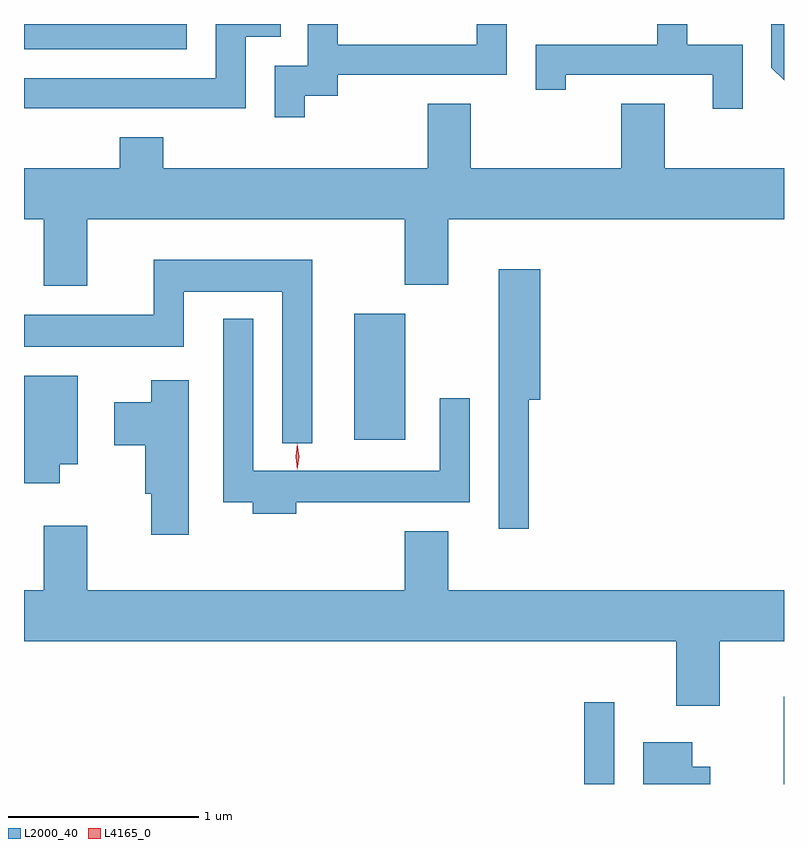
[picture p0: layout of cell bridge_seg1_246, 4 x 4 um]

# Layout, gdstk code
import gdstk
lib = gdstk.Library(unit=1e-6, precision=1e-09)
def R(c, l, rs):  # rectangles x0, y0, x1, y1
    for r in rs: c.add(gdstk.rectangle(r[:2], r[2:], *l))
def P(c, l, *ps):  # polygons
    for p in ps: c.add(gdstk.Polygon(p, *l))
L2000_40 = (2000, 40)
L4165_0 = (4165, 0)

bridge_seg1_246 = lib.new_cell('bridge_seg1_246')
R(bridge_seg1_246, L2000_40, [(959.426,885.504,959.584,885.933), (960.476,885.504,960.477,885.964), (958.216,887.316,958.484,887.979), (956.477,889.371,957.334,889.504)])
P(bridge_seg1_246, L2000_40, [(960.477,889.504),(960.411,889.504),(960.411,889.274),(960.477,889.208)],
  [(960.259,889.394),(959.969,889.394),(959.969,889.504),(959.811,889.504),(959.811,889.394),(959.171,889.394),(959.171,889.158),(959.329,889.158),(959.329,889.236),(960.101,889.236),(960.101,889.058),(960.259,889.058)],
  [(957.644,889.436),(957.828,889.436),(957.828,889.504),(957.486,889.504),(957.486,889.219),(956.477,889.219),(956.477,889.061),(957.644,889.061)],
  [(957.954,889.126),(958.129,889.126),(958.129,889.236),(959.019,889.236),(959.019,889.504),(958.861,889.504),(958.861,889.394),(958.129,889.394),(958.129,889.504),(957.971,889.504),(957.971,889.284),(957.796,889.284),(957.796,889.013),(957.954,889.013)],
  [(956.809,888.476),(958.481,888.476),(958.481,888.131),(958.709,888.131),(958.709,888.476),(960.477,888.476),(960.477,888.744),(959.849,888.744),(959.849,889.084),(959.621,889.084),(959.621,888.744),(958.829,888.744),(958.829,889.084),(958.601,889.084),(958.601,888.744),(957.209,888.744),(957.209,888.909),(956.981,888.909),(956.981,888.744),(956.477,888.744),(956.477,888.476),(956.581,888.476),(956.581,888.126),(956.809,888.126)],
  [(957.994,888.264),(957.161,888.264),(957.161,887.974),(956.477,887.974),(956.477,887.806),(957.319,887.806),(957.319,888.096),(957.836,888.096),(957.836,887.298),(957.994,887.298)],
  [(959.134,887.526),(959.194,887.526),(959.194,888.214),(958.976,888.214),(958.976,886.848),(959.134,886.848)],
  [(957.909,886.986),(958.824,886.986),(958.824,887.533),(958.666,887.533),(958.666,887.154),(957.684,887.154),(957.684,887.953),(957.526,887.953),(957.526,886.986),(957.681,886.986),(957.681,886.926),(957.909,886.926)],
  [(956.664,887.186),(956.759,887.186),(956.759,887.654),(956.477,887.654),(956.477,887.086),(956.664,887.086)],
  [(957.344,887.629),(957.146,887.629),(957.146,887.514),(956.951,887.514),(956.951,887.286),(957.116,887.286),(957.116,887.031),(957.146,887.031),(957.146,886.816),(957.344,886.816)],
  [(960.139,886.256),(960.477,886.256),(960.477,886.524),(958.709,886.524),(958.709,886.834),(958.481,886.834),(958.481,886.524),(956.809,886.524),(956.809,886.864),(956.581,886.864),(956.581,886.524),(956.477,886.524),(956.477,886.256),(959.911,886.256),(959.911,885.916),(960.139,885.916)],
  [(960.089,885.594),(959.994,885.594),(959.994,885.724),(959.736,885.724),(959.736,885.504),(960.089,885.504)])
P(bridge_seg1_246, L4165_0, [(957.915,887.157),(957.906,887.227),(957.915,887.296),(957.916,887.296),(957.916,887.296),(957.926,887.227),(957.916,887.157),(957.916,887.157)],
  [(957.916,887.159),(957.915,887.16),(957.906,887.226),(957.915,887.292),(957.916,887.293),(957.916,887.292),(957.926,887.226),(957.916,887.16)])

lib.write_gds('bridge_seg1_246.gds')
